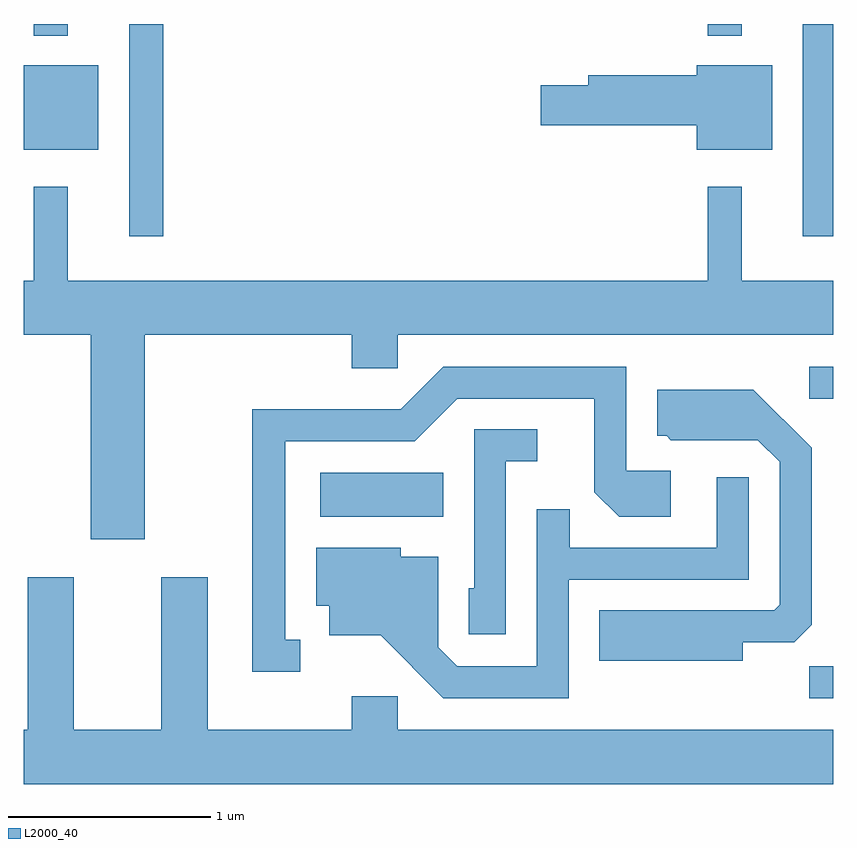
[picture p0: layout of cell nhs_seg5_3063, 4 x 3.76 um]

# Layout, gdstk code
import gdstk
lib = gdstk.Library(unit=1e-6, precision=1e-09)
def R(c, l, rs):  # rectangles x0, y0, x1, y1
    for r in rs: c.add(gdstk.rectangle(r[:2], r[2:], *l))
def P(c, l, *ps):  # polygons
    for p in ps: c.add(gdstk.Polygon(p, *l))
L2000_40 = (2000, 40)

nhs_seg5_3063 = lib.new_cell('nhs_seg5_3063')
R(nhs_seg5_3063, L2000_40, [(279.493,1492.741,279.611,1492.899), (277.076,1493.636,277.684,1493.854), (279.493,1494.221,279.611,1494.379), (276.131,1495.023,276.299,1496.072), (279.461,1495.023,279.611,1496.072), (275.611,1495.451,275.979,1495.869), (275.661,1496.013,275.829,1496.072), (278.991,1496.013,279.159,1496.072)])
P(nhs_seg5_3063, L2000_40, [(279.309,1495.869),(278.936,1495.869),(278.936,1495.819),(278.401,1495.819),(278.401,1495.769),(278.166,1495.769),(278.166,1495.571),(278.936,1495.571),(278.936,1495.451),(279.309,1495.451)],
  [(278.991,1495.268),(278.991,1494.804),(275.829,1494.804),(275.829,1495.268),(275.661,1495.268),(275.661,1494.804),(275.611,1494.804),(275.611,1494.536),(275.941,1494.536),(275.941,1493.526),(276.209,1493.526),(276.209,1494.536),(277.231,1494.536),(277.231,1494.371),(277.459,1494.371),(277.459,1494.536),(279.611,1494.536),(279.611,1494.804),(279.159,1494.804),(279.159,1495.268)],
  [(276.978,1493.029),(276.904,1493.029),(276.904,1494.011),(277.542,1494.011),(277.752,1494.221),(278.431,1494.221),(278.431,1493.759),(278.554,1493.636),(278.809,1493.636),(278.809,1493.864),(278.589,1493.864),(278.589,1494.379),(277.684,1494.379),(277.474,1494.169),(276.741,1494.169),(276.741,1492.871),(276.978,1492.871)],
  [(279.164,1493.016),(279.419,1493.016),(279.504,1493.102),(279.504,1493.977),(279.217,1494.264),(278.741,1494.264),(278.741,1494.036),(278.789,1494.036),(278.809,1494.016),(279.239,1494.016),(279.346,1493.909),(279.346,1493.202),(279.319,1493.174),(278.456,1493.174),(278.456,1492.926),(279.164,1492.926)],
  [(277.994,1493.911),(278.148,1493.911),(278.148,1494.069),(277.836,1494.069),(277.836,1493.284),(277.811,1493.284),(277.811,1493.056),(277.994,1493.056)],
  [(278.304,1493.326),(279.194,1493.326),(279.194,1493.833),(279.036,1493.833),(279.036,1493.484),(278.309,1493.484),(278.309,1493.673),(278.146,1493.673),(278.146,1492.899),(277.752,1492.899),(277.659,1492.992),(277.659,1493.439),(277.474,1493.439),(277.474,1493.484),(277.056,1493.484),(277.056,1493.196),(277.121,1493.196),(277.121,1493.051),(277.374,1493.051),(277.684,1492.741),(278.304,1492.741)],
  [(279.611,1492.584),(277.459,1492.584),(277.459,1492.749),(277.231,1492.749),(277.231,1492.584),(276.519,1492.584),(276.519,1493.339),(276.291,1493.339),(276.291,1492.584),(275.859,1492.584),(275.859,1493.339),(275.631,1493.339),(275.631,1492.584),(275.611,1492.584),(275.611,1492.316),(279.611,1492.316)])

lib.write_gds('nhs_seg5_3063.gds')
